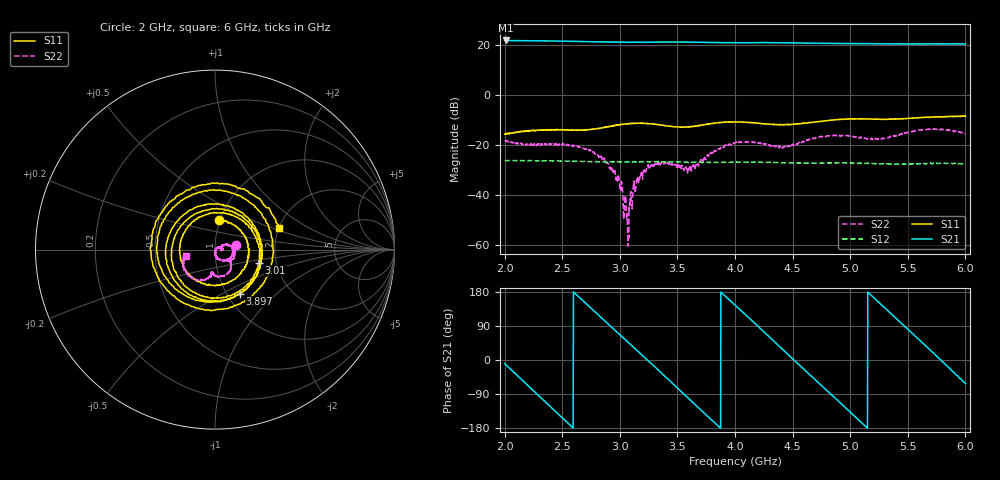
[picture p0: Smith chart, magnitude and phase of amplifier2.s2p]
#  HZ  S  DB  R  50.00
! Rohde & Schwarz ZVA24 4Ports - Version 3.60 - 1145.1110k28 SN: 101513
! Date: 2019-09-25 19:20:51
! Measurements: S33 S43 S34 S44
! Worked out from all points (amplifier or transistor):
!   1601 points, 2 GHz to 6 GHz, reference 50 ohm
!   highest |S21| = 21.8 dB at 2.01 GHz (marker M1)
!   |S21| within 3 dB of that: start of sweep to end of sweep
!   unconditionally stable (mu >= 1): start of sweep to end of sweep
!   at 2.665 GHz: K = 1.15, MAG = 21.7 dB, |S12| = -26.6 dB
!   at 4 GHz: K = 1.15, MAG = 21.6 dB, |S12| = -27.0 dB
!   at 6 GHz: K = 1.13, MAG = 21.9 dB, |S12| = -27.8 dB
!   S11 on the Smith chart (normalised r, x): 2 GHz: 0.99, +0.33; 3.01 GHz: 1.62, -0.25; 3.897 GHz: 1.14, -0.61; 6 GHz: 1.99, +0.57
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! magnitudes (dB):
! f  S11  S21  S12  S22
! 2 GHz  -15.7  21.8  -26.4  -18.6
! 2.01 GHz  -15.6  21.8  -26.3  -18.4
! 2.667 GHz  -14.1  21.4  -26.6  -21.3
! 2.88 GHz  -13.0  21.3  -27.0  -27.3
! 2.97 GHz  -12.1  21.2  -26.9  -33.6
! 3.01 GHz  -11.8  21.1  -26.9  -38.0
! 3.035 GHz  -11.8  21.1  -26.8  -49.2
! 3.053 GHz  -11.7  21.1  -26.9  -41.2
! 3.067 GHz  -11.6  21.1  -26.8  -53.5
! 3.087 GHz  -11.5  21.2  -27.0  -44.5
! 3.105 GHz  -11.3  21.1  -26.8  -44.3
! 3.138 GHz  -11.4  21.1  -26.9  -37.2
! 3.228 GHz  -11.4  21.2  -26.8  -30.5
! 3.335 GHz  -11.9  21.2  -26.8  -27.3
! 3.603 GHz  -12.9  21.2  -26.9  -29.2
! 3.897 GHz  -11.0  20.9  -27.0  -21.0
! 4 GHz  -10.9  20.9  -27.0  -19.2
! 4.428 GHz  -11.9  20.9  -27.2  -20.7
! 4.668 GHz  -11.0  20.7  -27.3  -17.7
! 5.335 GHz  -9.8  20.5  -27.7  -17.2
! 5.71 GHz  -8.8  20.5  -27.6  -13.7
! 6 GHz  -8.5  20.5  -27.8  -15.7
